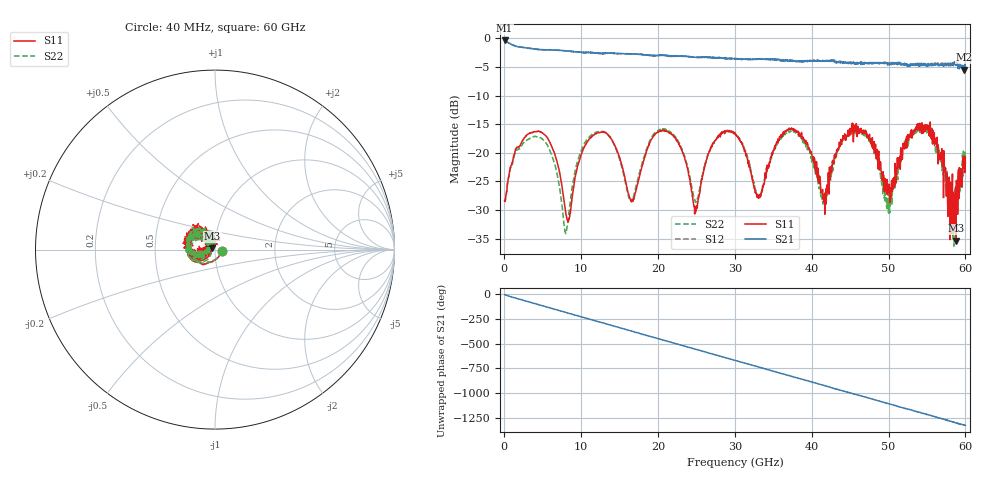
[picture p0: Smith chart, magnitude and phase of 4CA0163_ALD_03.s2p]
! File created by 'SoftPlot +Plus+ Measurement Management Software'
! SoftPlot +Plus+ Measurement Management Software
! Start 40.000000 MHz  Stop 60.000000 GHz  Points 1601
# MHZ S RI R 50
! S-Parameter data, F S11 S21 S12 S22
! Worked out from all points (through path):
!   1601 points, 40 MHz to 60 GHz, reference 50 ohm
!   highest |S21| = -0.38 dB at 40 MHz (marker M1); lowest = -5.5 dB at 59.85 GHz (marker M2)
!   group delay of S21, straight-line fit = 61.2 ps
!   lowest |S11| = -35.4 dB at 58.76 GHz (marker M3), VSWR 1.03, Z = 48.5 + j0.729 ohm
!   |S11| at or under -10 dB: start of sweep to end of sweep
!   |S22| runs from -36.3 to -15.1 dB; largest |S21 - S12| = 0.072
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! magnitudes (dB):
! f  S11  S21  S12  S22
! 40 MHz  -28.4  -0.4  -0.4  -28.1
! 1.539 GHz  -19.2  -1.4  -1.4  -19.6
! 4.724 GHz  -16.4  -2.0  -2.0  -17.4
! 8.022 GHz  -30.8  -2.2  -2.2  -34.1
! 10.05 GHz  -20.2  -2.5  -2.5  -19.5
! 13.42 GHz  -16.8  -2.6  -2.6  -16.7
! 16.49 GHz  -28.2  -2.7  -2.7  -28.5
! 20.05 GHz  -16.3  -3.0  -3.0  -16.1
! 22.79 GHz  -18.7  -3.1  -3.1  -18.3
! 24.89 GHz  -30.4  -3.3  -3.3  -28.7
! 27.1 GHz  -18.5  -3.5  -3.3  -18.6
! 30.02 GHz  -16.6  -3.6  -3.5  -16.5
! 33.09 GHz  -27.9  -3.7  -3.6  -27.6
! 36.58 GHz  -16.3  -3.9  -4.0  -16.7
! 40.03 GHz  -20.4  -3.9  -3.9  -21.1
! 41.67 GHz  -27.1  -4.0  -3.9  -28.1
! 46.47 GHz  -16.2  -4.6  -4.1  -16.7
! 50.03 GHz  -26.8  -4.5  -4.4  -28.6
! 54.53 GHz  -16.6  -4.4  -4.7  -16.0
! 58.76 GHz  -35.4  -4.6  -4.4  -25.9
! 59.85 GHz  -20.9  -5.5  -5.0  -22.3
! 60 GHz  -21.8  -4.2  -5.2  -21.0
